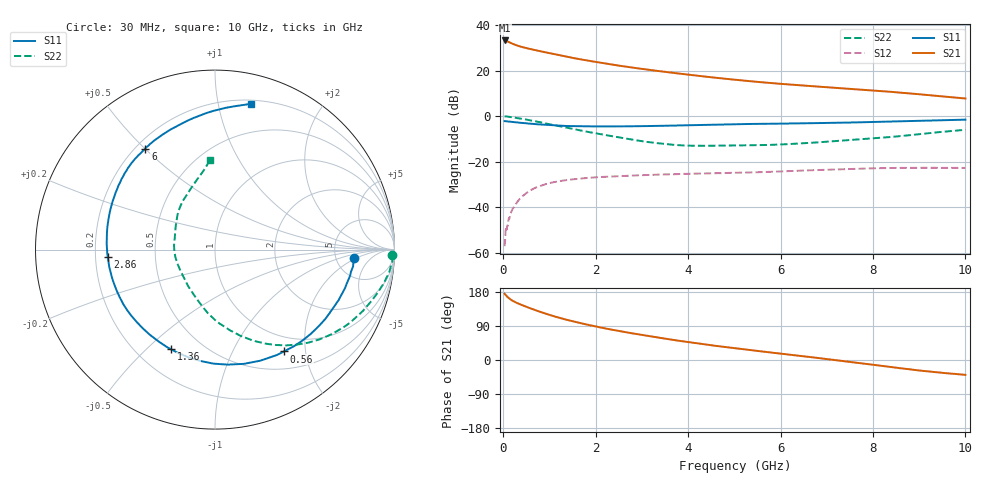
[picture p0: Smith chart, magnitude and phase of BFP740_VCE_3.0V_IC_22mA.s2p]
! Infineon Technologies  Discrete & RF Semiconductors
! BFP740
! VCE =  3.0 V,  IC =  22 mA
! Common Emitter S-Parameters:  Jan 2016
# GHz  S  MA  R  50
!  f  S11  S21  S12  S22
! GHz  MAG  ANG  MAG  ANG  MAG  ANG  MAG  ANG
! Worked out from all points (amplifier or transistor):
!   229 points, 30 MHz to 10 GHz, reference 50 ohm
!   highest |S21| = 33.2 dB at 30 MHz (marker M1)
!   |S21| within 3 dB of that: start of sweep to 430.4 MHz
!   unconditionally stable (mu >= 1): 6.381 GHz to 6.499 GHz; 6.5 GHz to end of sweep
!   at 280 MHz: K = 0.24, MSG = 34.8 dB, |S12| = -38.4 dB
!   at 1.78 GHz: K = 0.45, MSG = 25.9 dB, |S12| = -27.2 dB
!   at 10 GHz: K = 1.01, MAG = 14.5 dB, |S12| = -22.7 dB
!   S11 on the Smith chart (normalised r, x): 30 MHz: 7.50, -1.79; 560 MHz: 0.76, -1.62; 1.36 GHz: 0.34, -0.60; 2.86 GHz: 0.25, -0.03; 6 GHz: 0.24, +0.50; 10 GHz: 0.23, +1.25
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0.03  0.776 -3.5  45.7 174.7  0.0014 70.3  0.988 -1.9
0.05  0.7744 -5.8  45.41 172.0  0.0029 93.5  0.9902 -3.7
0.07  0.7706 -8.2  44.57 169.1  0.0032 88.5  0.9845 -5.3
0.11  0.7613 -12.8  42.82 164.3  0.005 74.4  0.9737 -8.5
0.15  0.7539 -17.1  40.84 160.5  0.0068 79.7  0.9581 -11.4
0.2  0.7438 -22.3  38.7 156.5  0.0091 80.0  0.9399 -14.5
0.36  0.716 -37.8  33.85 147.2  0.0154 71.0  0.8855 -23.5
0.56  0.685 -55.9  30.05 137.6  0.0225 62.8  0.8171 -33.8
0.7  0.6683 -67.9  27.94 131.3  0.0269 57.6  0.7689 -40.5
0.94  0.6398 -86.5  24.76 121.3  0.0326 49.9  0.6844 -50.9
1.18  0.6187 -102.8  21.98 112.4  0.0367 43.4  0.6082 -60.1
1.36  0.6068 -113.7  20.19 106.5  0.0393 39.5  0.5581 -66.1
1.7  0.5957 -131.7  17.41 96.4  0.043 33.8  0.4768 -76.5
2.22  0.5935 -154.0  14.18 83.0  0.0466 26.7  0.3829 -91.5
2.86  0.5992 -175.9  11.37 68.9  0.0499 21.1  0.2962 -109.4
3.4  0.6118 168.9  9.628 58.2  0.0522 17.1  0.2509 -127.2
4.3  0.6409 148.3  7.498 42.1  0.0549 12.2  0.2235 -159.3
5.1  0.6669 135.4  6.156 29.6  0.0573 9.1  0.2276 178.5
6  0.6835 124.6  5.11 16.9  0.0611 6.2  0.2383 159.1
6.8  0.7026 115.3  4.455 5.5  0.0655 2.3  0.2651 144.2
8.4  0.7629 93.4  3.402 -18.8  0.0728 -8.4  0.349 115.7
10  0.836 76.2  2.434 -39.3  0.0729 -17.9  0.5006 93.1
